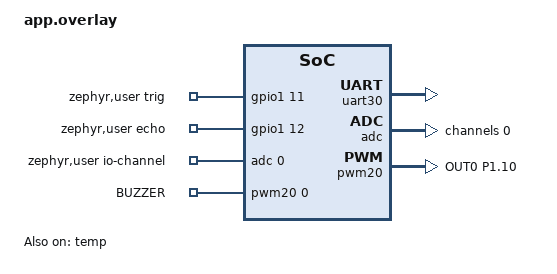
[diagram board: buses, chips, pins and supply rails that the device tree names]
/ {
	chosen {
		zephyr,console = &uart30;
		zephyr,shell-uart = &uart30;
		zephyr,uart-mcumgr = &uart30;
		zephyr,bt-mon-uart = &uart30;
		zephyr,bt-c2h-uart = &uart30;
	};

	zephyr,user {
		trig-gpios = <&gpio1 11 GPIO_ACTIVE_HIGH>;
		echo-gpios = <&gpio1 12 GPIO_ACTIVE_HIGH>;
		io-channels = <&adc 0>;
	};

	/* Buzzer pasywny */
	pwm_buzzer_node {
		compatible = "pwm-leds";
		pwm_buzz: pwm_buzz {
			pwms = <&pwm20 0 PWM_MSEC(1) PWM_POLARITY_NORMAL>;
			label = "BUZZER";
		};
	};

	aliases {
		buzzer = &pwm_buzz;
	};
};

&temp {
	status = "okay";
};

&uart20 {
	status = "disabled";
};

&uart30 {
	status = "okay";
};

&adc {
	status = "okay";
	#address-cells = <1>;
	#size-cells = <0>;

	channel@0 {
		reg = <0>;
		zephyr,gain = "ADC_GAIN_1_4";
		zephyr,reference = "ADC_REF_INTERNAL";
		zephyr,acquisition-time = <ADC_ACQ_TIME_DEFAULT>;
		zephyr,input-positive = <NRF_SAADC_AIN0>; /* P1.04 */
		zephyr,resolution = <14>;
	};
};

&i2c21 {
	status = "disabled";
};

&spi22 {
	status = "disabled";
};

&pwm20 {
	status = "okay";
	pinctrl-0 = <&pwm20_default>;
	pinctrl-1 = <&pwm20_sleep>;
	pinctrl-names = "default", "sleep";
};

&pinctrl {
	pwm20_default: pwm20_default {
		group1 {
			psels = <NRF_PSEL(PWM_OUT0, 1, 10)>;
		};
	};

	pwm20_sleep: pwm20_sleep {
		group1 {
			psels = <NRF_PSEL(PWM_OUT0, 1, 10)>;
			low-power-enable;
		};
	};
};
